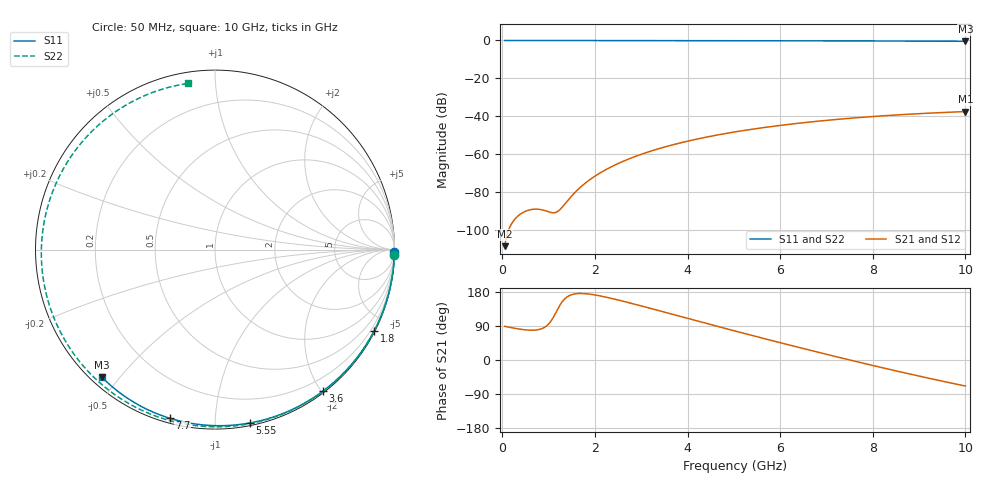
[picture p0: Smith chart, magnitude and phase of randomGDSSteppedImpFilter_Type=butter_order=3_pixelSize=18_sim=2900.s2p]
! freq	dB(S11)	phase(S11)	dB(S12)	phase(S12)
!  dB(S21)	phase(S21)	dB(S22)	phase(S22)
!S-par simulation data
#  GHz  S  DB  R 50
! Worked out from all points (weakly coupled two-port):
!   200 points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, 50 MHz to 10 GHz, reference 50 ohm
!   highest |S21| = -37.47 dB at 10 GHz (marker M1); lowest = -108.4 dB at 50 MHz (marker M2)
!   lowest |S11| = -0.4 dB at 10 GHz (marker M3), VSWR 39.01, Z = 1.54 - j22.5 ohm
!   |S11| at or under -10 dB: nowhere
!   |S22| runs from -0.6 to 0.0 dB; largest |S21 - S12| = 0
!   S11 on the Smith chart (normalised r, x): 50 MHz: open; 1.8 GHz: 0.04, -4.17; 3.6 GHz: 0.02, -2.02; 5.55 GHz: 0.02, -1.22; 7.7 GHz: 0.02, -0.77; 10 GHz: 0.03, -0.45
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0.05  -0.00 -0.8  -108.40 88.9  -108.40 88.9  -0.00 -1.8
0.4  -0.01 -6.1  -91.33 81.0  -91.33 81.0  -0.02 -13.8
0.75  -0.01 -11.3  -88.89 79.4  -88.89 79.4  -0.03 -25.8
1.15  -0.02 -17.3  -90.67 123.3  -90.67 123.3  -0.05 -39.2
1.55  -0.03 -23.3  -80.57 174.1  -80.57 174.1  -0.07 -52.2
1.75  -0.03 -26.2  -76.01 175.4  -76.01 175.4  -0.07 -58.6
1.8  -0.03 -26.9  -75.02 175.0  -75.02 175.0  -0.07 -60.1
2.1  -0.04 -31.3  -69.98 169.4  -69.98 169.4  -0.09 -69.3
2.5  -0.05 -37.1  -64.87 158.4  -64.87 158.4  -0.10 -81.2
2.95  -0.06 -43.6  -60.42 144.4  -60.42 144.4  -0.11 -94.0
3.4  -0.07 -49.9  -56.87 129.7  -56.87 129.7  -0.13 -106.1
3.6  -0.07 -52.7  -55.51 123.1  -55.51 123.1  -0.14 -111.4
4.35  -0.09 -62.9  -51.21 98.4  -51.21 98.4  -0.17 -130.1
5.05  -0.11 -72.2  -48.09 75.7  -48.09 75.7  -0.20 -146.6
5.55  -0.13 -78.7  -46.23 59.8  -46.23 59.8  -0.23 -158.1
6.1  -0.15 -85.7  -44.47 42.5  -44.47 42.5  -0.26 -170.3
6.7  -0.18 -93.1  -42.83 24.1  -42.83 24.1  -0.30 176.4
7.2  -0.21 -99.1  -41.65 9.0  -41.65 9.0  -0.33 165.3
7.7  -0.24 -105.1  -40.63 -5.8  -40.63 -5.8  -0.37 154.1
8.35  -0.29 -112.7  -39.50 -24.5  -39.50 -24.5  -0.42 139.2
9.2  -0.36 -122.4  -38.32 -47.9  -38.32 -47.9  -0.49 119.1
10  -0.45 -131.5  -37.47 -68.7  -37.47 -68.7  -0.56 99.3
